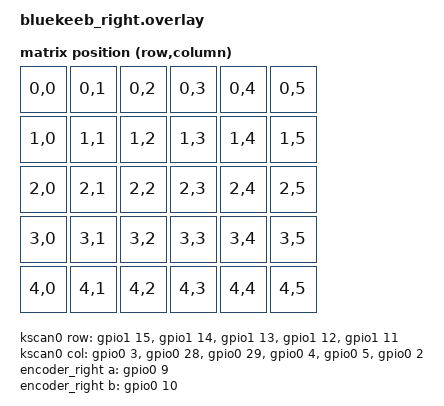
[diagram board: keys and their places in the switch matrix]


#include <dt-bindings/zmk/matrix_transform.h>

/ {
    chosen {
        zmk,kscan = &kscan0;
        
        zmk,matrix_transform = &default_transform;
    };

    default_transform: keymap_transform_0 {
        compatible = "zmk,matrix-transform";
        columns = <6>;
        rows = <5>;
        map = <
            RC(0,0) RC(0,1) RC(0,2) RC(0,3) RC(0,4) RC(0,5)
            RC(1,0) RC(1,1) RC(1,2) RC(1,3) RC(1,4) RC(1,5)
            RC(2,0) RC(2,1) RC(2,2) RC(2,3) RC(2,4) RC(2,5)
            RC(3,0) RC(3,1) RC(3,2) RC(3,3) RC(3,4) RC(3,5)
            RC(4,0) RC(4,1) RC(4,2) RC(4,3) RC(4,4) RC(4,5)
        >;
    };

    kscan0: kscan {
        compatible = "zmk,kscan-gpio-matrix";
        label = "KSCAN";
        diode-direction = "col2row";

        col-gpios
            = <&gpio0  3 GPIO_ACTIVE_HIGH>
            , <&gpio0 28 GPIO_ACTIVE_HIGH>
            , <&gpio0 29 GPIO_ACTIVE_HIGH>
            , <&gpio0  4 GPIO_ACTIVE_HIGH>
            , <&gpio0  5 GPIO_ACTIVE_HIGH>
            , <&gpio0  2 GPIO_ACTIVE_HIGH>
            ;

        row-gpios
            = <&gpio1 15 (GPIO_ACTIVE_HIGH | GPIO_PULL_DOWN)>
            , <&gpio1 14 (GPIO_ACTIVE_HIGH | GPIO_PULL_DOWN)>
            , <&gpio1 13 (GPIO_ACTIVE_HIGH | GPIO_PULL_DOWN)>
            , <&gpio1 12 (GPIO_ACTIVE_HIGH | GPIO_PULL_DOWN)>
            , <&gpio1 11 (GPIO_ACTIVE_HIGH | GPIO_PULL_DOWN)>
            ;
    };

    encoder_right: encoder_right {
        compatible = "alps,ec11";
        label = "ENCODER_RIGHT";
        a-gpios = <&gpio0 9  (GPIO_ACTIVE_HIGH | GPIO_PULL_UP)>;
        b-gpios = <&gpio0 10 (GPIO_ACTIVE_HIGH | GPIO_PULL_UP)>;
        steps = <80>;
        status = "okay";
    };

    sensors {
        compatible = "zmk,keymap-sensors";
        sensors = <&encoder_right>;
        triggers-per-rotation = <20>;
    };
};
